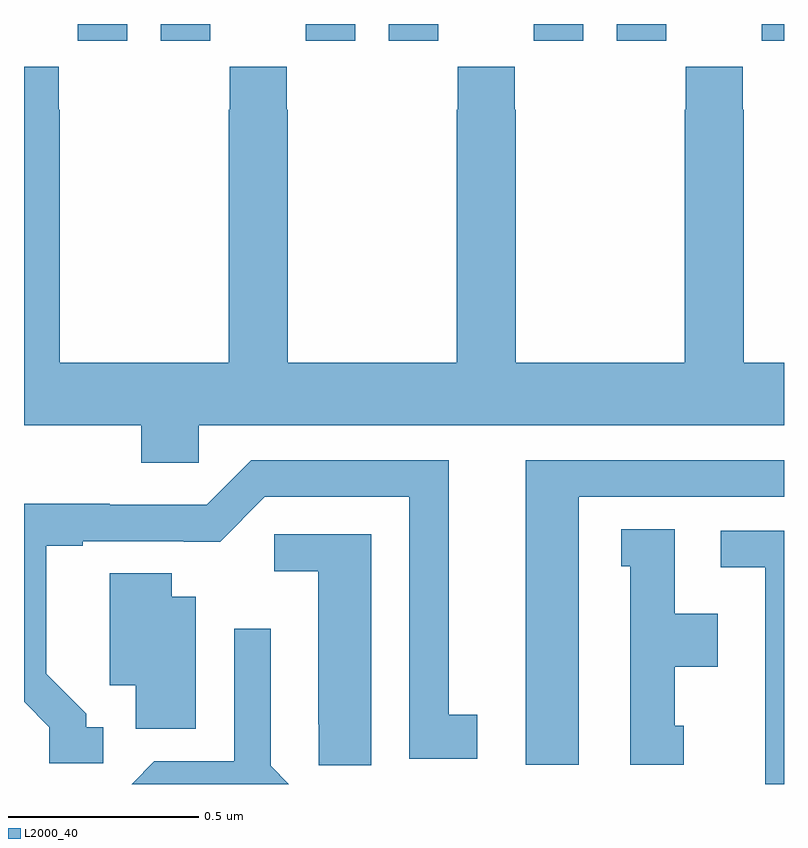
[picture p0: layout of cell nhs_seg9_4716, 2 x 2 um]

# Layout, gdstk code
import gdstk
lib = gdstk.Library(unit=1e-6, precision=1e-09)
def R(c, l, rs):  # rectangles x0, y0, x1, y1
    for r in rs: c.add(gdstk.rectangle(r[:2], r[2:], *l))
def P(c, l, *ps):  # polygons
    for p in ps: c.add(gdstk.Polygon(p, *l))
L2000_40 = (2000, 40)

nhs_seg9_4716 = lib.new_cell('nhs_seg9_4716')
R(nhs_seg9_4716, L2000_40, [(170.142,1173.456,170.272,1173.5), (170.36,1173.456,170.49,1173.5), (170.742,1173.456,170.872,1173.5), (170.96,1173.456,171.09,1173.5), (171.342,1173.456,171.472,1173.5), (171.56,1173.456,171.69,1173.5), (171.942,1173.456,172,1173.5)])
P(nhs_seg9_4716, L2000_40, [(172,1172.608),(171.894,1172.608),(171.894,1173.275),(171.891,1173.275),(171.891,1173.388),(171.741,1173.388),(171.741,1173.275),(171.739,1173.275),(171.739,1172.608),(171.294,1172.608),(171.294,1173.275),(171.291,1173.275),(171.291,1173.388),(171.141,1173.388),(171.141,1173.275),(171.139,1173.275),(171.139,1172.608),(170.694,1172.608),(170.694,1173.275),(170.691,1173.275),(170.691,1173.388),(170.541,1173.388),(170.541,1173.275),(170.539,1173.275),(170.539,1172.608),(170.094,1172.608),(170.094,1173.275),(170.091,1173.275),(170.091,1173.388),(170,1173.388),(170,1172.444),(170.309,1172.444),(170.309,1172.346),(170.46,1172.346),(170.46,1172.444),(172,1172.444)],
  [(170.209,1171.65),(170.164,1171.65),(170.164,1171.685),(170.059,1171.79),(170.059,1172.127),(170.155,1172.127),(170.155,1172.139),(170.42,1172.139),(170.42,1172.138),(170.516,1172.138),(170.634,1172.256),(171.014,1172.256),(171.014,1171.566),(171.193,1171.566),(171.193,1171.682),(171.118,1171.682),(171.118,1172.352),(170.598,1172.352),(170.481,1172.235),(170.225,1172.235),(170.225,1172.237),(170,1172.237),(170,1171.717),(170.067,1171.65),(170.067,1171.554),(170.209,1171.554)],
  [(171.46,1172.256),(172,1172.256),(172,1172.352),(171.32,1172.352),(171.32,1171.551),(171.46,1171.551)],
  [(171.736,1171.653),(171.712,1171.653),(171.712,1171.808),(171.826,1171.808),(171.826,1171.948),(171.712,1171.948),(171.712,1172.171),(171.572,1172.171),(171.572,1172.073),(171.596,1172.073),(171.596,1171.551),(171.736,1171.551)],
  [(172,1172.166),(171.834,1172.166),(171.834,1172.07),(171.95,1172.07),(171.95,1171.5),(172,1171.5)],
  [(170.914,1172.157),(170.658,1172.157),(170.658,1172.06),(170.774,1172.06),(170.774,1171.657),(170.775,1171.657),(170.775,1171.549),(170.914,1171.549)],
  [(170.452,1171.993),(170.389,1171.993),(170.389,1172.054),(170.225,1172.054),(170.225,1171.76),(170.294,1171.76),(170.294,1171.645),(170.452,1171.645)],
  [(170.649,1171.548),(170.649,1171.909),(170.553,1171.909),(170.553,1171.56),(170.343,1171.56),(170.283,1171.5),(170.697,1171.5)])

lib.write_gds('nhs_seg9_4716.gds')
